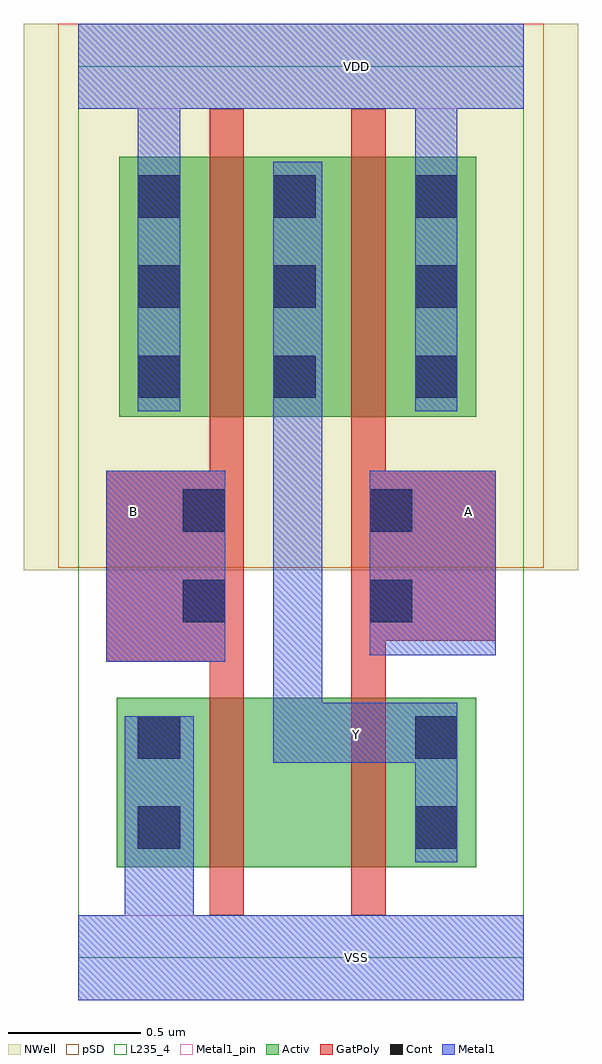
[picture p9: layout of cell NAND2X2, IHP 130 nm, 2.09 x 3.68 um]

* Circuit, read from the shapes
.subckt NAND2X2 A B VDD VSS Y
XM1 n1 B VSS VSUBS sg13_lv_nmos w=0.64u l=0.13u
XM2 Y A n1 VSUBS sg13_lv_nmos w=0.64u l=0.13u
XM3 Y B VDD n2 sg13_lv_pmos w=0.98u l=0.13u
XM4 VDD A Y n2 sg13_lv_pmos w=0.98u l=0.13u
.ends

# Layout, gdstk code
import gdstk
lib = gdstk.Library(unit=1e-6, precision=1e-09)
def R(c, l, rs):  # rectangles x0, y0, x1, y1
    for r in rs: c.add(gdstk.rectangle(r[:2], r[2:], *l))
def A(c, l, x, y, w, h, nx, ny, dx, dy):  # array of equal rectangles
    R(c, l, [(x+i*dx, y+j*dy, x+i*dx+w, y+j*dy+h) for i in range(nx) for j in range(ny)])
def P(c, l, *ps):  # polygons
    for p in ps: c.add(gdstk.Polygon(p, *l))
Activ = (1, 0)
GatPoly = (5, 0)
Cont = (6, 0)
Metal1 = (8, 0)
Metal1_pin = (8, 2)
pSD = (14, 0)
NWell = (31, 0)
L235_4 = (235, 4)

nand2x2 = lib.new_cell('NAND2X2')
R(nand2x2, Activ, [(0.145,0.34,1.5,0.98), (0.155,2.04,1.5,3.02)])
P(nand2x2, GatPoly, [(1.03,0.16),(1.03,3.2),(1.16,3.2),(1.16,1.835),(1.575,1.835),(1.575,1.195),(1.16,1.195),(1.16,0.16)],
  [(0.495,0.16),(0.495,1.115),(0.105,1.115),(0.105,1.835),(0.495,1.835),(0.495,3.2),(0.625,3.2),(0.625,0.16)])
A(nand2x2, Cont, 0.225, 2.11, 0.16, 0.16, 1, 3, 0, 0.34)
A(nand2x2, Cont, 0.735, 2.11, 0.16, 0.16, 1, 3, 0, 0.34)
A(nand2x2, Cont, 1.27, 2.11, 0.16, 0.16, 1, 3, 0, 0.34)
R(nand2x2, Cont, [(0.225,0.41,0.385,0.57), (1.27,0.41,1.43,0.57), (0.225,0.75,0.385,0.91), (1.27,0.75,1.43,0.91), (0.395,1.265,0.555,1.425), (1.1,1.265,1.26,1.425), (0.395,1.605,0.555,1.765), (1.1,1.605,1.26,1.765)])
R(nand2x2, Metal1, [(0.105,1.115,0.555,1.835), (1.1,1.14,1.575,1.835)])
P(nand2x2, Metal1, [(1.27,0.36),(1.27,0.735),(0.735,0.735),(0.735,3),(0.92,3),(0.92,0.96),(1.43,0.96),(1.43,0.36)],
  [(0,-0.16),(0,0.16),(0.175,0.16),(0.175,0.91),(0.435,0.91),(0.435,0.16),(1.68,0.16),(1.68,-0.16)],
  [(0.225,2.06),(0.225,3.2),(0,3.2),(0,3.52),(1.68,3.52),(1.68,3.2),(1.43,3.2),(1.43,2.06),(1.27,2.06),(1.27,3.2),(0.385,3.2),(0.385,2.06)])
R(nand2x2, Metal1_pin, [(0,-0.16,1.68,0.16), (1.27,0.36,1.43,0.96), (0.735,0.735,0.92,3), (0.735,0.735,1.43,0.96), (0.105,1.115,0.555,1.835), (1.1,1.14,1.575,1.835), (0,3.2,1.68,3.52), (0,3.2,1.68,3.52)])
R(nand2x2, pSD, [(-0.075,1.47,1.755,3.52)])
R(nand2x2, NWell, [(-0.205,1.46,1.885,3.52)])
R(nand2x2, L235_4, [(0,0,1.68,3.36)])
nand2x2.add(gdstk.Label('VDD', (1.05,3.36), layer=8, texttype=25))
nand2x2.add(gdstk.Label('VSS', (1.05,0), layer=8, texttype=25))
nand2x2.add(gdstk.Label('A', (1.47,1.68), layer=8, texttype=25))
nand2x2.add(gdstk.Label('Y', (1.05,0.84), layer=8, texttype=25))
nand2x2.add(gdstk.Label('B', (0.21,1.68), layer=8, texttype=25))

lib.write_gds('NAND2X2.gds')
